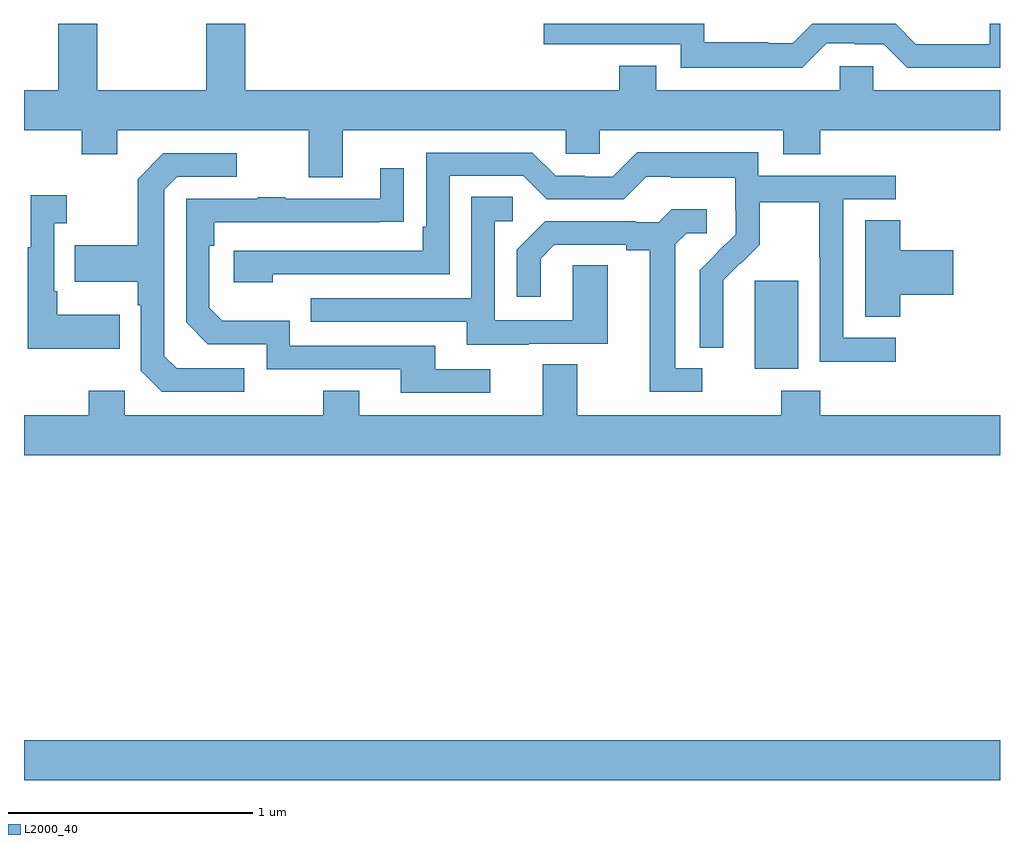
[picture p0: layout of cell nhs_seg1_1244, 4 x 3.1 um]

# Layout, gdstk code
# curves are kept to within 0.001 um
import gdstk
lib = gdstk.Library(unit=1e-6, precision=1e-09)
def R(c, l, rs):  # rectangles x0, y0, x1, y1
    for r in rs: c.add(gdstk.rectangle(r[:2], r[2:], *l))
def P(c, l, *ps):  # polygons
    for p in ps: c.add(gdstk.Polygon(p, *l))
L2000_40 = (2000, 40)

nhs_seg1_1244 = lib.new_cell('nhs_seg1_1244')
R(nhs_seg1_1244, L2000_40, [(179,517.1,183,517.264), (181.994,518.786,182.173,519.147)])
P(nhs_seg1_1244, L2000_40, [(182.289,520.119),(182.405,520.119),(182.405,520.116),(182.523,520.116),(182.619,520.02),(183,520.02),(183,520.199),(182.958,520.199),(182.958,520.116),(182.655,520.116),(182.572,520.199),(182.231,520.199),(182.151,520.119),(182.051,520.119),(182.051,520.123),(181.788,520.123),(181.788,520.199),(181.131,520.199),(181.131,520.116),(181.692,520.116),(181.692,520.019),(182.189,520.019)],
  [(180.307,519.764),(181.221,519.764),(181.221,519.666),(181.359,519.666),(181.359,519.764),(182.111,519.764),(182.111,519.665),(182.264,519.665),(182.264,519.764),(183,519.764),(183,519.928),(182.481,519.928),(182.481,520.026),(182.343,520.026),(182.343,519.928),(181.591,519.928),(181.591,520.027),(181.439,520.027),(181.439,519.928),(179.906,519.928),(179.906,520.199),(179.746,520.199),(179.746,519.928),(179.301,519.928),(179.301,520.199),(179.141,520.199),(179.141,519.928),(179,519.928),(179,519.764),(179.236,519.764),(179.236,519.665),(179.383,519.665),(179.383,519.764),(180.167,519.764),(180.167,519.57),(180.307,519.57)],
  [(182.572,518.913),(182.358,518.913),(182.358,519.48),(182.572,519.48),(182.572,519.576),(182.01,519.576),(182.01,519.673),(181.513,519.673),(181.413,519.573),(181.298,519.573),(181.298,519.576),(181.179,519.576),(181.083,519.672),(180.648,519.672),(180.648,519.367),(180.635,519.367),(180.635,519.27),(179.859,519.27),(179.859,519.14),(180.02,519.14),(180.02,519.174),(180.744,519.174),(180.744,519.576),(181.047,519.576),(181.143,519.48),(181.458,519.48),(181.551,519.573),(181.651,519.573),(181.651,519.569),(181.914,519.569),(181.914,519.435),(181.916,519.435),(181.916,519.338),(181.77,519.19),(181.77,518.872),(181.866,518.872),(181.865,519.149),(181.935,519.219),(181.938,519.216),(182.015,519.293),(182.015,519.468),(182.26,519.468),(182.26,519.244),(182.262,519.244),(182.262,518.815),(182.572,518.815)],
  [(179.902,518.787),(179.625,518.787),(179.574,518.838),(179.574,519.519),(179.628,519.573),(179.872,519.573),(179.872,519.669),(179.571,519.669),(179.466,519.563),(179.466,519.291),(179.209,519.291),(179.209,519.143),(179.466,519.143),(179.466,519.047),(179.478,519.047),(179.478,518.778),(179.565,518.691),(179.902,518.691)],
  [(180.91,518.784),(180.685,518.784),(180.685,518.88),(180.09,518.88),(180.09,518.983),(179.813,518.983),(179.76,519.036),(179.76,519.29),(179.78,519.29),(179.78,519.387),(180.557,519.388),(180.557,519.607),(180.461,519.607),(180.461,519.483),(180.071,519.483),(180.071,519.488),(179.959,519.488),(179.959,519.483),(179.664,519.483),(179.664,518.976),(179.754,518.886),(179.994,518.886),(179.994,518.784),(180.545,518.784),(180.545,518.688),(180.91,518.688)],
  [(179.393,519.007),(179.137,519.007),(179.137,519.103),(179.124,519.103),(179.124,519.383),(179.176,519.383),(179.176,519.496),(179.027,519.496),(179.027,519.283),(179.016,519.283),(179.016,518.867),(179.393,518.867)],
  [(181.069,518.889),(181.393,518.889),(181.393,519.209),(181.248,519.209),(181.248,518.985),(180.93,518.985),(180.93,519.39),(181.003,519.39),(181.003,519.491),(180.834,519.491),(180.834,519.075),(180.175,519.075),(180.175,518.979),(180.815,518.979),(180.815,518.885),(181.069,518.885)],
  [(181.78,518.787),(181.669,518.787),(181.669,519.295),(181.716,519.342),(181.798,519.342),(181.798,519.439),(181.654,519.439),(181.602,519.387),(181.508,519.387),(181.508,519.39),(181.136,519.39),(181.02,519.274),(181.02,519.081),(181.117,519.081),(181.117,519.237),(181.174,519.294),(181.469,519.294),(181.469,519.272),(181.565,519.272),(181.565,518.691),(181.78,518.691)],
  [(182.591,519.089),(182.809,519.089),(182.809,519.272),(182.591,519.272),(182.591,519.395),(182.447,519.395),(182.447,518.998),(182.591,518.998)],
  [(183,518.596),(182.264,518.596),(182.264,518.695),(182.104,518.695),(182.104,518.596),(181.267,518.596),(181.267,518.804),(181.127,518.804),(181.127,518.596),(180.373,518.596),(180.373,518.695),(180.226,518.695),(180.226,518.596),(179.412,518.596),(179.412,518.695),(179.266,518.695),(179.266,518.596),(179,518.596),(179,518.432),(183,518.432)])

lib.write_gds('nhs_seg1_1244.gds')
